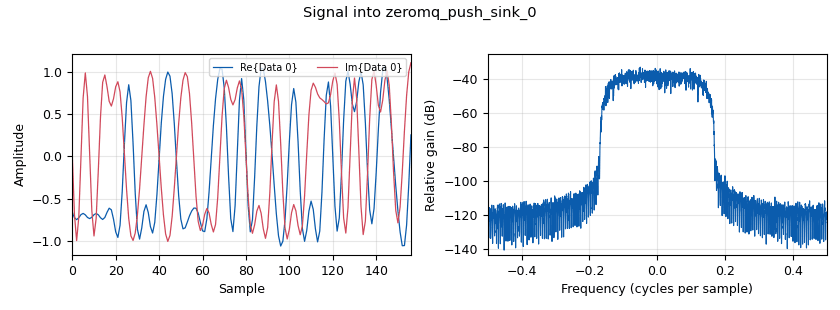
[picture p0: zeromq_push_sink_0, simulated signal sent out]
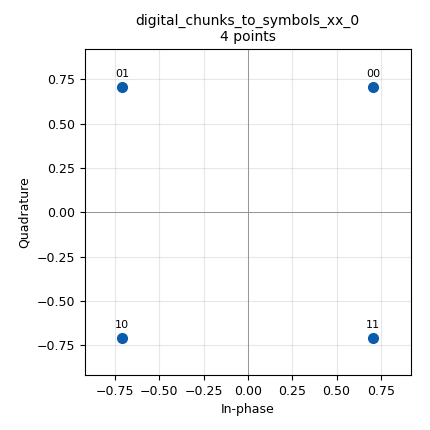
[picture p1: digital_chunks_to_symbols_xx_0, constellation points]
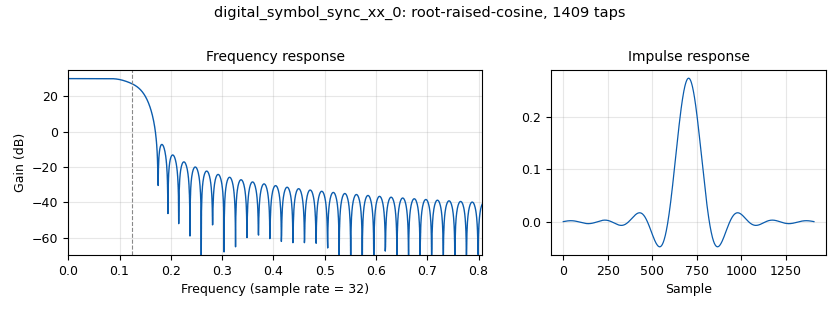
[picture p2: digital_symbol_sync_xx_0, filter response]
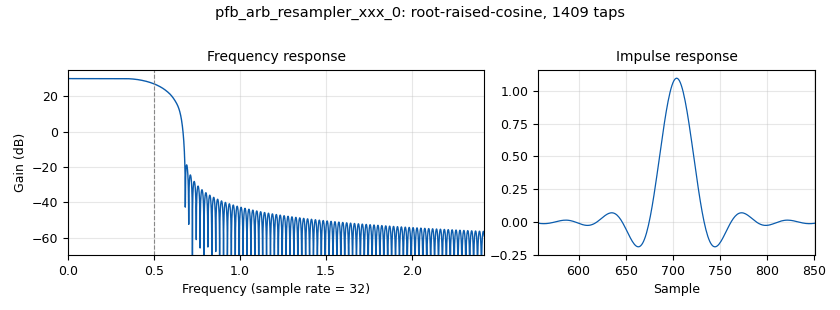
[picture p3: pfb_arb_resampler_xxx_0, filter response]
options:
  parameters:
    author: Dramco_Tianzheng
    generate_options: qt_gui
    id: QPSK_RPI_Tx
    output_language: python
    title: QPSK_RPI_Tx
  states: {}

blocks:
- name: arity
  id: variable
  parameters:
    value: '4'
  states: {}
- name: d
  id: variable
  parameters:
    value: 1/(2**(1/2))
  states: {}
- name: eq_gain
  id: variable
  parameters:
    value: '0.0001'
  states: {}
- name: excess_bw
  id: variable
  parameters:
    value: '0.35'
  states: {}
- name: filt_delay
  id: variable
  parameters:
    value: int(1+(taps_per_filt-1)//2)
  states: {}
- name: freq
  id: variable
  parameters:
    value: 920e6
  states: {}
- name: freq_offset
  id: variable
  parameters:
    value: '0'
  states: {}
- name: nfilts
  id: variable
  parameters:
    value: '32'
  states: {}
- name: phase_bw
  id: variable
  parameters:
    value: '0.0314'
  states: {}
- name: qpsk_mg
  id: variable_constellation_rect
  parameters:
    const_points: '[d+d*1j, -d+d*1j,-d-d*1j, d-d*1j]'
    imag_sect: '2'
    real_sect: '2'
    rot_sym: '4'
    sym_map: '[0, 1, 3, 2]'
    w_imag_sect: '1'
    w_real_sect: '1'
  states: {}
- name: rrc_taps
  id: variable
  parameters:
    value: firdes.root_raised_cosine(nfilts, nfilts, 1.0/float(sps), excess_bw, 11*sps*nfilts)
  states: {}
- name: rrc_taps_tx
  id: variable
  parameters:
    value: firdes.root_raised_cosine(nfilts, nfilts, 1.0, excess_bw, 11*sps*nfilts)
  states: {}
- name: samp_rate
  id: variable
  parameters:
    value: '1000000'
  states: {}
- name: sps
  id: variable
  parameters:
    value: '4'
  states: {}
- name: taps
  id: variable
  parameters:
    value: '[0.825,0,0,0,0.526]'
  states: {}
- name: taps_1
  id: variable
  parameters:
    value: '[1,0,0,0.5]'
  states: {}
- name: taps_per_filt
  id: variable
  parameters:
    value: int((11*sps*nfilts)/nfilts)
  states: {}
- name: timing_loop_bw
  id: variable
  parameters:
    value: '0.0314'
  states: {}
- name: variable_adaptive_algorithm_0
  id: variable_adaptive_algorithm
  parameters:
    cons: qpsk_mg
    modulus: '1'
    step_size: eq_gain
    type: cma
  states: {}
- name: analog_random_source_x_0
  id: analog_random_source_x
  parameters:
    max: '256'
    min: '0'
    num_samps: '10000000'
    repeat: 'True'
    type: byte
  states: {}
- name: blocks_complex_to_mag_squared_0
  id: blocks_complex_to_mag_squared
  parameters: {}
  states: {state: disabled}
- name: blocks_moving_average_xx_0
  id: blocks_moving_average_xx
  parameters:
    length: '10000'
    max_iter: '4000'
    scale: '0.0001'
    type: float
  states: {state: disabled}
- name: blocks_packed_to_unpacked_xx_0
  id: blocks_packed_to_unpacked_xx
  parameters:
    bits_per_chunk: '2'
    endianness: gr.GR_MSB_FIRST
    type: byte
  states: {}
- name: blocks_stream_to_tagged_stream_0
  id: blocks_stream_to_tagged_stream
  parameters:
    len_tag_key: '"packet_len"'
    packet_len: '1024'
    type: byte
  states: {}
- name: blocks_stream_to_tagged_stream_0_0
  id: blocks_stream_to_tagged_stream
  parameters:
    len_tag_key: '"packet_len"'
    packet_len: '1024'
    type: byte
  states: {}
- name: blocks_throttle_0
  id: blocks_throttle
  parameters:
    samples_per_second: samp_rate
    type: complex
  states: {}
- name: blocks_unpack_k_bits_bb_0
  id: blocks_unpack_k_bits_bb
  parameters:
    k: '2'
  states: {}
- name: channels_channel_model_0
  id: channels_channel_model
  parameters:
    epsilon: '1'
    freq_offset: freq_offset
    noise_voltage: '0'
    seed: '0'
    taps: '1'
  states: {}
- name: digital_chunks_to_symbols_xx_0
  id: digital_chunks_to_symbols_xx
  parameters:
    dimension: '1'
    in_type: byte
    out_type: complex
    symbol_table: qpsk_mg.points()
  states: {}
- name: digital_constellation_decoder_cb_0
  id: digital_constellation_decoder_cb
  parameters:
    constellation: qpsk_mg.base()
  states: {}
- name: digital_costas_loop_cc_0
  id: digital_costas_loop_cc
  parameters:
    order: arity
    w: phase_bw
  states: {}
- name: digital_diff_decoder_bb_0_0
  id: digital_diff_decoder_bb
  parameters:
    coding: digital.DIFF_DIFFERENTIAL
    modulus: '4'
  states: {}
- name: digital_diff_encoder_bb_0
  id: digital_diff_encoder_bb
  parameters:
    coding: digital.DIFF_DIFFERENTIAL
    modulus: '4'
  states: {}
- name: digital_linear_equalizer_0
  id: digital_linear_equalizer
  parameters:
    alg: variable_adaptive_algorithm_0
    num_taps: '15'
    sps: '2'
  states: {}
- name: digital_symbol_sync_xx_0
  id: digital_symbol_sync_xx
  parameters:
    damping: '1.0'
    loop_bw: timing_loop_bw
    max_dev: '1.5'
    nfilters: nfilts
    osps: '2'
    pfb_mf_taps: rrc_taps
    resamp_type: digital.IR_PFB_MF
    sps: sps
    ted_gain: '1.0'
    ted_type: digital.TED_SIGNAL_TIMES_SLOPE_ML
    type: cc
  states: {}
- name: pdu_tagged_stream_to_pdu_0
  id: pdu_tagged_stream_to_pdu
  parameters:
    tag: packet_len
    type: byte
  states: {}
- name: pdu_tagged_stream_to_pdu_0_0
  id: pdu_tagged_stream_to_pdu
  parameters:
    tag: packet_len
    type: byte
  states: {}
- name: pfb_arb_resampler_xxx_0
  id: pfb_arb_resampler_xxx
  parameters:
    atten: '100'
    nfilts: nfilts
    rrate: sps
    taps: rrc_taps_tx
    type: ccf
  states: {}
- name: qtgui_const_sink_x_0
  id: qtgui_const_sink_x
  parameters:
    grid: 'True'
    gui_hint: 2,0,1,1
    name: '"RX_Constellation"'
    size: '1024'
    type: complex
  states: {state: disabled}
- name: qtgui_number_sink_0
  id: qtgui_number_sink
  parameters:
    graph_type: qtgui.NUM_GRAPH_HORIZ
    type: float
  states: {state: disabled}
- name: qtgui_sink_x_1_0
  id: qtgui_sink_x
  parameters:
    bw: samp_rate
    fc: freq
    fftsize: '1024'
    gui_hint: 1,1,1,1
    name: '"Rx_Signal"'
    showports: 'True'
    type: complex
  states: {state: disabled}
- name: zeromq_pull_source_0
  id: zeromq_pull_source
  parameters:
    address: tcp://*:6002
    timeout: '100'
    type: complex
  states: {}
- name: zeromq_push_msg_sink_1
  id: zeromq_push_msg_sink
  parameters:
    address: tcp://<192.168.10.30>:5555
    timeout: '100'
  states: {}
- name: zeromq_push_msg_sink_1_0
  id: zeromq_push_msg_sink
  parameters:
    address: tcp://<192.168.10.30>:5556
    timeout: '100'
  states: {}
- name: zeromq_push_sink_0
  id: zeromq_push_sink
  parameters:
    address: tcp://<rpi-t05.local>:6001
    timeout: '100'
    type: complex
  states: {}

connections:
- [analog_random_source_x_0, '0', blocks_packed_to_unpacked_xx_0, '0']
- [blocks_complex_to_mag_squared_0, '0', blocks_moving_average_xx_0, '0']
- [blocks_moving_average_xx_0, '0', qtgui_number_sink_0, '0']
- [blocks_packed_to_unpacked_xx_0, '0', blocks_stream_to_tagged_stream_0, '0']
- [blocks_packed_to_unpacked_xx_0, '0', digital_diff_encoder_bb_0, '0']
- [blocks_stream_to_tagged_stream_0, '0', pdu_tagged_stream_to_pdu_0, '0']
- [blocks_stream_to_tagged_stream_0_0, '0', pdu_tagged_stream_to_pdu_0_0, '0']
- [blocks_throttle_0, '0', channels_channel_model_0, '0']
- [blocks_unpack_k_bits_bb_0, '0', blocks_stream_to_tagged_stream_0_0, '0']
- [channels_channel_model_0, '0', zeromq_push_sink_0, '0']
- [digital_chunks_to_symbols_xx_0, '0', pfb_arb_resampler_xxx_0, '0']
- [digital_constellation_decoder_cb_0, '0', digital_diff_decoder_bb_0_0, '0']
- [digital_costas_loop_cc_0, '0', digital_constellation_decoder_cb_0, '0']
- [digital_costas_loop_cc_0, '0', qtgui_const_sink_x_0, '0']
- [digital_diff_decoder_bb_0_0, '0', blocks_unpack_k_bits_bb_0, '0']
- [digital_diff_encoder_bb_0, '0', digital_chunks_to_symbols_xx_0, '0']
- [digital_linear_equalizer_0, '0', digital_costas_loop_cc_0, '0']
- [digital_symbol_sync_xx_0, '0', digital_linear_equalizer_0, '0']
- [pdu_tagged_stream_to_pdu_0, pdus, zeromq_push_msg_sink_1, in]
- [pdu_tagged_stream_to_pdu_0_0, pdus, zeromq_push_msg_sink_1_0, in]
- [pfb_arb_resampler_xxx_0, '0', blocks_throttle_0, '0']
- [zeromq_pull_source_0, '0', blocks_complex_to_mag_squared_0, '0']
- [zeromq_pull_source_0, '0', digital_symbol_sync_xx_0, '0']
- [zeromq_pull_source_0, '0', qtgui_sink_x_1_0, '0']

metadata:
  file_format: 1
  grc_version: 3.10.10.0
